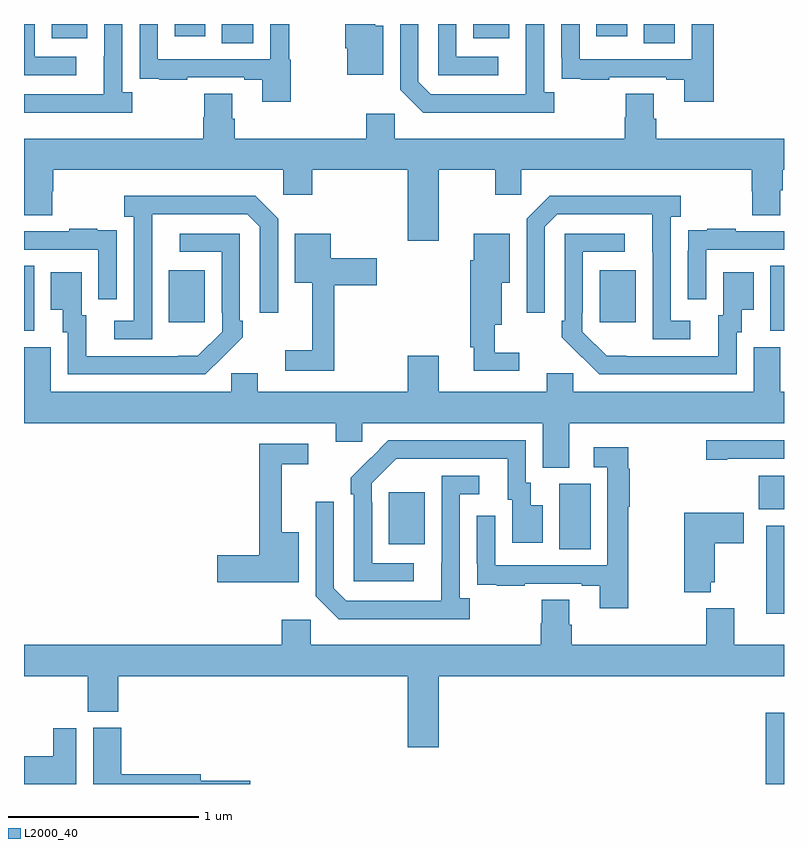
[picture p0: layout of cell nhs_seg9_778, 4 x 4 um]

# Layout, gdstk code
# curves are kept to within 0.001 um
import gdstk
lib = gdstk.Library(unit=1e-6, precision=1e-09)
def R(c, l, rs):  # rectangles x0, y0, x1, y1
    for r in rs: c.add(gdstk.rectangle(r[:2], r[2:], *l))
def P(c, l, *ps):  # polygons
    for p in ps: c.add(gdstk.Polygon(p, *l))
L2000_40 = (2000, 40)

nhs_seg9_778 = lib.new_cell('nhs_seg9_778')
R(nhs_seg9_778, L2000_40, [(154.903,1214.5,155,1214.875), (154.907,1215.396,155,1215.859), (153.818,1215.736,153.982,1216.08), (152.921,1215.761,153.109,1216.036), (154.868,1215.947,155,1216.123), (151,1216.885,151.054,1217.228), (154.928,1216.885,155,1217.228), (151.763,1216.929,151.951,1217.203), (154.031,1216.929,154.219,1217.203), (152.042,1218.4,152.206,1218.5), (154.262,1218.4,154.426,1218.5), (151.145,1218.425,151.333,1218.5), (153.365,1218.425,153.553,1218.5), (151.793,1218.435,151.954,1218.5), (154.013,1218.435,154.174,1218.5)])
P(nhs_seg9_778, L2000_40, [(152.89,1218.49),(152.848,1218.49),(152.848,1218.5),(152.69,1218.5),(152.69,1218.372),(152.702,1218.372),(152.702,1218.233),(152.89,1218.233)],
  [(154.631,1218.5),(154.515,1218.5),(154.515,1218.315),(153.924,1218.315),(153.924,1218.5),(153.828,1218.5),(153.828,1218.322),(153.829,1218.322),(153.829,1218.213),(153.931,1218.213),(153.931,1218.207),(154.079,1218.207),(154.079,1218.219),(154.379,1218.219),(154.379,1218.207),(154.475,1218.207),(154.475,1218.09),(154.631,1218.09)],
  [(153.79,1218.142),(153.738,1218.142),(153.738,1218.5),(153.642,1218.5),(153.641,1218.129),(153.141,1218.129),(153.075,1218.195),(153.075,1218.5),(152.979,1218.5),(152.979,1218.153),(153.1,1218.032),(153.79,1218.032)],
  [(153.496,1218.327),(153.276,1218.327),(153.276,1218.5),(153.18,1218.5),(153.18,1218.231),(153.496,1218.231)],
  [(152.405,1218.312),(152.396,1218.312),(152.396,1218.5),(152.295,1218.5),(152.295,1218.315),(151.704,1218.315),(151.704,1218.5),(151.608,1218.5),(151.608,1218.322),(151.609,1218.322),(151.609,1218.213),(151.711,1218.213),(151.711,1218.207),(151.859,1218.207),(151.859,1218.219),(152.159,1218.219),(152.159,1218.207),(152.255,1218.207),(152.255,1218.09),(152.405,1218.09)],
  [(151.276,1218.327),(151.056,1218.327),(151.056,1218.5),(151,1218.5),(151,1218.231),(151.276,1218.231)],
  [(151.57,1218.142),(151.518,1218.142),(151.518,1218.5),(151.422,1218.5),(151.422,1218.329),(151.421,1218.329),(151.421,1218.129),(151,1218.129),(151,1218.032),(151.57,1218.032)],
  [(154.829,1217.619),(154.834,1217.619),(154.834,1217.494),(154.981,1217.494),(154.981,1217.626),(154.994,1217.626),(154.994,1217.732),(155,1217.732),(155,1217.896),(154.328,1217.896),(154.328,1218.002),(154.315,1218.002),(154.315,1218.134),(154.168,1218.134),(154.168,1218.009),(154.163,1218.009),(154.163,1217.896),(152.952,1217.896),(152.952,1218.028),(152.801,1218.028),(152.801,1217.896),(152.108,1217.896),(152.108,1218.002),(152.095,1218.002),(152.095,1218.134),(151.948,1218.134),(151.948,1218.009),(151.943,1218.009),(151.943,1217.896),(151,1217.896),(151,1217.626),(151.001,1217.626),(151.001,1217.494),(151.149,1217.494),(151.149,1217.619),(151.154,1217.619),(151.154,1217.732),(152.364,1217.732),(152.364,1217.601),(152.516,1217.601),(152.516,1217.732),(153.02,1217.732),(153.02,1217.358),(153.184,1217.358),(153.184,1217.732),(153.479,1217.732),(153.479,1217.601),(153.618,1217.601),(153.618,1217.732),(154.829,1217.732)],
  [(154.507,1216.938),(154.404,1216.938),(154.404,1217.486),(154.456,1217.486),(154.456,1217.596),(153.766,1217.596),(153.645,1217.475),(153.645,1216.98),(153.741,1216.98),(153.741,1217.433),(153.807,1217.499),(154.307,1217.499),(154.308,1216.842),(154.507,1216.842)],
  [(151.674,1217.299),(151.675,1217.499),(152.175,1217.499),(152.241,1217.433),(152.241,1216.98),(152.337,1216.98),(152.337,1217.475),(152.216,1217.596),(151.527,1217.596),(151.527,1217.486),(151.578,1217.486),(151.578,1216.938),(151.476,1216.938),(151.476,1216.842),(151.674,1216.842)],
  [(151.488,1217.306),(151.487,1217.306),(151.487,1217.415),(151.385,1217.415),(151.385,1217.422),(151.237,1217.422),(151.237,1217.409),(151,1217.409),(151,1217.313),(151.392,1217.313),(151.392,1217.052),(151.488,1217.052)],
  [(154.59,1217.313),(155,1217.313),(155,1217.409),(154.745,1217.409),(154.745,1217.422),(154.597,1217.422),(154.597,1217.415),(154.495,1217.415),(154.495,1217.306),(154.494,1217.306),(154.494,1217.052),(154.59,1217.052)],
  [(154.752,1216.878),(154.777,1216.878),(154.777,1216.997),(154.84,1216.997),(154.84,1217.194),(154.679,1217.194),(154.679,1216.968),(154.655,1216.968),(154.655,1216.752),(154.068,1216.753),(153.939,1216.881),(153.939,1216.981),(153.942,1216.981),(153.942,1217.301),(154.162,1217.301),(154.162,1217.397),(153.846,1217.397),(153.846,1216.939),(153.831,1216.939),(153.831,1216.851),(154.028,1216.656),(154.752,1216.656)],
  [(152.045,1216.747),(152.046,1216.746),(152.151,1216.851),(152.151,1216.939),(152.136,1216.939),(152.136,1217.397),(151.821,1217.397),(151.821,1217.301),(152.04,1217.301),(152.04,1216.981),(152.043,1216.981),(152.043,1216.881),(151.915,1216.753),(151.327,1216.752),(151.327,1216.968),(151.303,1216.968),(151.303,1217.194),(151.142,1217.194),(151.142,1216.997),(151.205,1216.997),(151.205,1216.878),(151.23,1216.878),(151.23,1216.656),(151.954,1216.656)],
  [(153.607,1216.771),(153.478,1216.771),(153.478,1216.916),(153.514,1216.916),(153.514,1217.138),(153.556,1217.138),(153.556,1217.395),(153.368,1217.395),(153.368,1217.256),(153.349,1217.256),(153.349,1216.799),(153.368,1216.799),(153.368,1216.674),(153.607,1216.674)],
  [(152.633,1217.126),(152.857,1217.126),(152.857,1217.268),(152.614,1217.268),(152.614,1217.395),(152.426,1217.395),(152.426,1217.138),(152.516,1217.138),(152.516,1216.783),(152.376,1216.783),(152.376,1216.674),(152.633,1216.674)],
  [(153.871,1216.4),(155,1216.4),(155,1216.564),(154.981,1216.564),(154.981,1216.8),(154.841,1216.8),(154.841,1216.564),(153.891,1216.564),(153.891,1216.662),(153.752,1216.662),(153.752,1216.564),(153.184,1216.564),(153.184,1216.753),(153.02,1216.753),(153.02,1216.564),(152.23,1216.564),(152.23,1216.662),(152.091,1216.662),(152.091,1216.564),(151.141,1216.564),(151.141,1216.8),(151.001,1216.8),(151.001,1216.564),(151,1216.564),(151,1216.4),(152.642,1216.4),(152.642,1216.302),(152.781,1216.302),(152.781,1216.4),(153.731,1216.4),(153.731,1216.165),(153.871,1216.165)],
  [(153.052,1215.663),(152.832,1215.663),(152.832,1215.983),(152.829,1215.983),(152.829,1216.083),(152.958,1216.212),(153.545,1216.212),(153.545,1215.996),(153.569,1215.996),(153.569,1215.771),(153.73,1215.771),(153.73,1215.967),(153.667,1215.967),(153.667,1216.086),(153.642,1216.086),(153.642,1216.308),(152.918,1216.308),(152.721,1216.113),(152.721,1216.025),(152.736,1216.025),(152.736,1215.567),(153.052,1215.567)],
  [(154.702,1216.212),(155,1216.212),(155,1216.308),(154.59,1216.308),(154.59,1216.207),(154.702,1216.207)],
  [(152.446,1215.826),(152.357,1215.826),(152.357,1216.182),(152.497,1216.182),(152.497,1216.29),(152.239,1216.29),(152.239,1215.704),(152.016,1215.704),(152.016,1215.562),(152.446,1215.562)],
  [(154.18,1215.96),(154.187,1215.96),(154.187,1216.16),(154.18,1216.16),(154.18,1216.273),(153.999,1216.273),(153.999,1216.167),(154.071,1216.167),(154.071,1215.651),(153.48,1215.651),(153.48,1215.913),(153.384,1215.913),(153.384,1215.658),(153.385,1215.658),(153.385,1215.549),(153.487,1215.549),(153.487,1215.543),(153.635,1215.543),(153.635,1215.555),(153.935,1215.555),(153.935,1215.543),(154.031,1215.543),(154.031,1215.426),(154.18,1215.426)],
  [(153.346,1215.478),(153.294,1215.478),(153.294,1216.026),(153.397,1216.026),(153.397,1216.122),(153.198,1216.122),(153.197,1215.465),(152.697,1215.465),(152.631,1215.531),(152.631,1215.985),(152.535,1215.985),(152.535,1215.489),(152.656,1215.368),(153.346,1215.368)],
  [(154.614,1215.563),(154.636,1215.563),(154.636,1215.766),(154.789,1215.766),(154.789,1215.928),(154.474,1215.928),(154.474,1215.509),(154.614,1215.509)],
  [(153.184,1215.068),(155,1215.068),(155,1215.232),(154.738,1215.232),(154.738,1215.424),(154.591,1215.424),(154.591,1215.232),(153.884,1215.232),(153.884,1215.338),(153.871,1215.338),(153.871,1215.47),(153.724,1215.47),(153.724,1215.345),(153.719,1215.345),(153.719,1215.232),(152.508,1215.232),(152.508,1215.364),(152.357,1215.364),(152.357,1215.232),(151,1215.232),(151,1215.068),(151.336,1215.068),(151.336,1214.881),(151.496,1214.881),(151.496,1215.068),(153.02,1215.068),(153.02,1214.694),(153.184,1214.694)],
  [(152.191,1214.516),(151.93,1214.516),(151.93,1214.552),(151.511,1214.552),(151.511,1214.796),(151.364,1214.796),(151.364,1214.5),(152.191,1214.5)],
  [(151.276,1214.794),(151.154,1214.794),(151.154,1214.647),(151,1214.647),(151,1214.5),(151.276,1214.5)])

lib.write_gds('nhs_seg9_778.gds')
